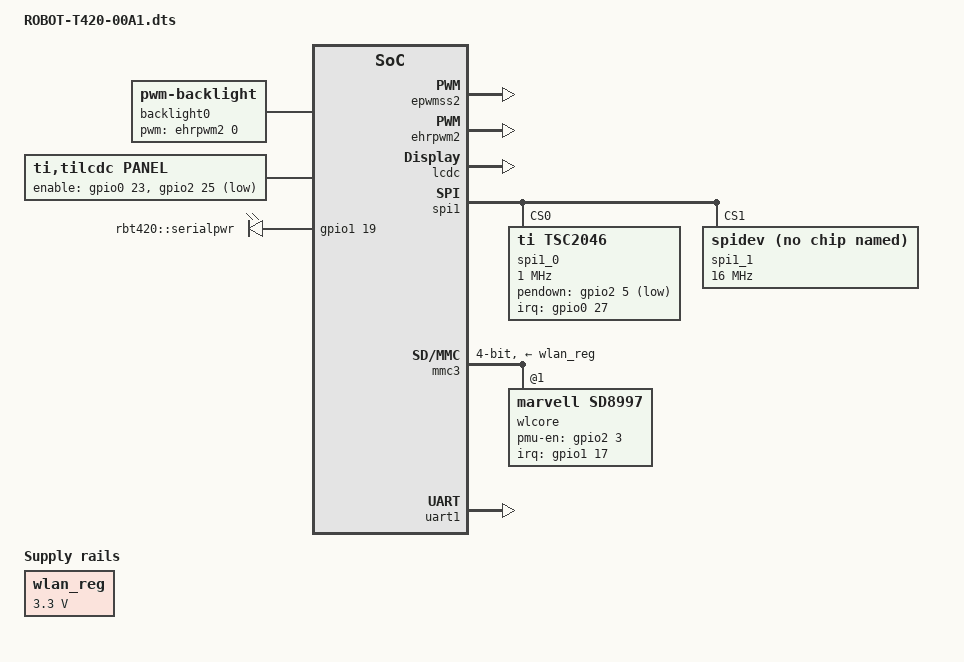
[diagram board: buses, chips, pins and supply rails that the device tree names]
/*
 * Copyright (C) 2013 CircuitCo
 *
 * Virtual cape for UART4 on connector pins P9.13 P9.11
 *
 * This program is free software; you can redistribute it and/or modify
 * it under the terms of the GNU General Public License version 2 as
 * published by the Free Software Foundation.
 */

/dts-v1/;
/plugin/;

#include <dt-bindings/interrupt-controller/irq.h>
#include <dt-bindings/gpio/gpio.h>
#include <dt-bindings/pinctrl/am33xx.h>
#include <dt-bindings/board/am335x-bbw-bbb-base.h>

/ {
	compatible = "ti,beaglebone", "ti,beaglebone-black", "ti,beaglebone-green";

	  /* identification */
  	part-number = "ROBOT-T420-00A1";
  	version = "00A1";

	  /* state the resources this cape uses */
	exclusive-use =
		/* the pin header uses */
		"P8.45",  /* lcd: lcd_data0 */
		"P8.46",  /* lcd: lcd_data1 */
		"P8.43",  /* lcd: lcd_data2 */
		"P8.44",  /* lcd: lcd_data3 */
		"P8.41",  /* lcd: lcd_data4 */
		"P8.42",  /* lcd: lcd_data5 */
		"P8.39",  /* lcd: lcd_data6 */
		"P8.40",  /* lcd: lcd_data7 */
		"P8.37",  /* lcd: lcd_data8 */
		"P8.38",  /* lcd: lcd_data9 */
		"P8.36",  /* lcd: lcd_data10 */
		"P8.34",  /* lcd: lcd_data11 */
		"P8.35",  /* lcd: lcd_data12 */
		"P8.33",  /* lcd: lcd_data13 */
		"P8.31",  /* lcd: lcd_data14 */
		"P8.32",  /* lcd: lcd_data15 */
		"P8.27",  /* lcd: lcd_vsync */
		"P8.29",  /* lcd: lcd_hsync */
		"P8.28",  /* lcd: lcd_pclk */
		
		"P8.30",  /* lcd: lcd_ac_bias_en */

		"P9.12",  /* led: gpio1_28 LCD_AVDD_EN */

		"P9.31",  /* spi1_clk */
		"P9.29",  /* spi1_d0 */
		"P9.30",  /* spi1_d1 */
		"P9.28",  /* spi1_cs0 */
		"P9.42",  /* spi1_cs1 */

		"P9.16",  /* SERIAL PWR */
		"P9.25",   /* SERIAL OC */

		"P8.9",   /* P1_9, touch done */
		"P8.17",  /* P1_17, touch irq */

		"ehrpwm2b",
		"gpio0_22", /* LCD PWM */
		"gpio1_28", /* LCD AVDD EN */
		"lcdc",
		"spi1";

	/*
	 * Helper to show loaded overlays under: /proc/device-tree/chosen/overlays/
	 */
	fragment@0 {
		target-path="/";
		__overlay__ {
			chosen {
				overlays {
					ROBOT-T420-00A1 = __TIMESTAMP__;
				};
			};
		};
	};

	/*
	 * Free up the pins used by the cape from the pinmux helpers.
	 */
	fragment@1 {
		target = <&ocp>;
		__overlay__ {

			P8_9_pinmux { status = "disabled"; };  /*  TOUCH DONE - GPIO2_5 */
			P8_17_pinmux { status = "disabled"; };  /* TOUCH IRQ - GPIO0_27 */

			P9_31_pinmux { status = "disabled"; };	/* SCK - spi1_sclk */
			P9_29_pinmux { status = "disabled"; };	/* MISO - spi1_d0 */
			P9_30_pinmux { status = "disabled"; };	/* MOSI - spi1_d1 */
			P9_28_pinmux { status = "disabled"; };	/* CS - spi1_cs0 */
		
			P9_12_pinmux { status = "disabled"; };  /* LCD_AVDD_EN - GPIO1_28*/

            P8_13_pinmux { status = "disabled"; };  /* CB_P1_13 LCD ENABLE - GPIO0_23 EHRPWM2B*/
            P8_19_pinmux { status = "disabled"; };  /* CB_P1_19 LCD PWM - GPIO0_22 EHRPWM2A*/
            P8_10_pinmux { status = "disabled"; };  /* CB_P1_10 LED HB - GPIO2_4 */

            P8_45_pinmux { status = "disabled"; };	/* lcd_data0 */
			P8_46_pinmux { status = "disabled"; };	/* lcd_data1 */
			P8_43_pinmux { status = "disabled"; };	/* lcd_data2 */
			P8_44_pinmux { status = "disabled"; };	/* lcd_data3 */
			P8_41_pinmux { status = "disabled"; };	/* lcd_data4 */
			P8_42_pinmux { status = "disabled"; };	/* lcd_data5 */
			P8_39_pinmux { status = "disabled"; };	/* lcd_data6 */
			P8_40_pinmux { status = "disabled"; };	/* lcd_data7 */
			P8_37_pinmux { status = "disabled"; };	/* lcd_data8 */
			P8_38_pinmux { status = "disabled"; };	/* lcd_data9 */
			P8_36_pinmux { status = "disabled"; };	/* lcd_data10 */
			P8_34_pinmux { status = "disabled"; };	/* lcd_data11 */
			P8_35_pinmux { status = "disabled"; };	/* lcd_data12 */
			P8_33_pinmux { status = "disabled"; };	/* lcd_data13 */
			P8_31_pinmux { status = "disabled"; };	/* lcd_data14 */
			P8_32_pinmux { status = "disabled"; };	/* lcd_data15 */
			P8_27_pinmux { status = "disabled"; };	/* lcd_vsync */
			P8_29_pinmux { status = "disabled"; };	/* lcd_hsync */
			P8_28_pinmux { status = "disabled"; };	/* lcd_pclk */
			P8_30_pinmux { status = "disabled"; };	/* lcd_ac_bias_en */

			P9_16_pinmux { status = "disabled"; };  /* SERIAL PWR - GPIO 1-19*/
			P9_25_pinmux { status = "disabled"; };  /* SERIAL OC - GPIO 3-21*/

			/* WIFI M.2 Connector */
			P8_18_pinmux { status = "disabled"; };	/* P8_18: GPIO2_1 mmc2_clk */
			P9_15_pinmux { status = "disabled"; };	/* P9_15: GPIO1_16 mmc2_cmd */
			P8_12_pinmux { status = "disabled"; };	/* P8_12: GPIO1_12 mmc2_dat0 */
			P8_11_pinmux { status = "disabled"; };	/* P8_11: GPIO1_13 mmc2_dat1 */
			P8_16_pinmux { status = "disabled"; };	/* P8_16: GPIO1_14 mmc2_dat2 */
			P8_15_pinmux { status = "disabled"; };	/* P8_15: GPIO1_15 mmc2_dat3 */

			P8_08_pinmux { status = "disabled"; };	/* P8_8: TIMER7/GPIO2_3 WL_EN */
			P9_23_pinmux { status = "disabled"; };	/* P9_23: GPIO1_17 WL_IRQ */
			P9_42_pinmux { status = "disabled"; };	/* P8_26: GPIO0_7 BT_EN */
			P9_27_pinmux { status = "disabled"; };	/* P9_27: GPIO3_19 BT IRQ */

			P9_26_pinmux { status = "disabled"; };	/* P9_26: (D16) uart1_rxd.uart1_rxd */
			P9_24_pinmux { status = "disabled"; };	/* P9_24: (D15) uart1_txd.uart1_txd */
			P9_20_pinmux { status = "disabled"; };	/* P9_20: (D18) uart1_ctsn.uart1_ctsn */
			P9_19_pinmux { status = "disabled"; };	/* P9_19: (D17) uart1_rtsn.uart1_rtsn  */

		};
	};


    fragment@2 {
		target = <&am33xx_pinmux>;
		__overlay__ {

			srl_ctrl_pins: pinmux_srl_ctrl_pins {
				pinctrl-single,pins = <
					BONE_P9_16 (PIN_OUTPUT_PULLDOWN | MUX_MODE0 ) /* SERIAL ENABLE */
					BONE_P9_25 (PIN_INPUT | MUX_MODE0 ) /* SERIAL OVERCURRENT */ 
				>;
			};

			cb_touch_pins: pinmux_cb_touch_pins {
				pinctrl-single,pins = <
					BONE_P8_09 (PIN_INPUT | MUX_MODE7 ) /* TOUCH done */
					BONE_P8_17 (PIN_INPUT | MUX_MODE7 ) /* TOUCH IRQ */ 
				>;
			};

			bb_spi1_pins: pinmux_bb_spi1_pins {
				pinctrl-single,pins = <
					/*AM33XX_IOPAD(0x990, PIN_OUTPUT | MUX_MODE3) /* (A13) mcasp0_aclkx.spi1_sclk */
					/*AM33XX_IOPAD(0x994, PIN_OUTPUT | MUX_MODE3) /* (B13) mcasp0_fsx.spi1_d0 */
					/*AM33XX_IOPAD(0x998, PIN_INPUT | MUX_MODE3) /* (D12) mcasp0_axr0.spi1_d1 */
					/*AM33XX_IOPAD(0x99c, PIN_OUTPUT | MUX_MODE3) /* (C12) mcasp0_ahclkr.spi1_cs0 */
					0x190 0x33	/* mcasp0_aclkx.spi1_sclk, INPUT_PULLUP | MODE3 */
					0x194 0x13	/* mcasp0_fsx.spi1_d0, OUTPUT_PULLUP | MODE3 */
					0x198 0x33	/* mcasp0_axr0.spi1_d1, INPUT_PULLUP | MODE3 */
					0x19c 0x13	/* mcasp0_ahclkr.spi1_cs0, OUTPUT_PULLUP | MODE3 */
					// 0x164 0x12	/* eCAP0_in_PWM0_out.spi1_cs1 OUTPUT_PULLUP | MODE2 */
				>;
			};

            bb_lcd_pwm_backlight_pins: pinmux_bb_lcd_pwm_backlight_pins {
				pinctrl-single,pins = <
					BONE_P8_19 (PIN_OUTPUT_PULLDOWN | MUX_MODE4)	/* EHRPWM2B */
				>;
			};

            bb_lcd_lcd_pins: pinmux_bb_lcd_lcd_pins {
				pinctrl-single,pins = <
					BONE_P8_45 (PIN_OUTPUT | MUX_MODE0)	/* P8_45: lcd_data0.lcd_data0 */
					BONE_P8_46 (PIN_OUTPUT | MUX_MODE0)	/* P8_46: lcd_data1.lcd_data1 */
					BONE_P8_43 (PIN_OUTPUT | MUX_MODE0)	/* P8_43: lcd_data2.lcd_data2 */
					BONE_P8_44 (PIN_OUTPUT | MUX_MODE0)	/* P8_44: lcd_data3.lcd_data3 */
					BONE_P8_41 (PIN_OUTPUT | MUX_MODE0)	/* P8_41: lcd_data4.lcd_data4 */
					BONE_P8_42 (PIN_OUTPUT | MUX_MODE0)	/* P8_42: lcd_data5.lcd_data5 */
					BONE_P8_39 (PIN_OUTPUT | MUX_MODE0)	/* P8_39: lcd_data6.lcd_data6 */
					BONE_P8_40 (PIN_OUTPUT | MUX_MODE0)	/* P8_40: lcd_data7.lcd_data7 */
					BONE_P8_37 (PIN_OUTPUT | MUX_MODE0)	/* P8_37: lcd_data8.lcd_data8 */
					BONE_P8_38 (PIN_OUTPUT | MUX_MODE0)	/* P8_38: lcd_data9.lcd_data9 */
					BONE_P8_36 (PIN_OUTPUT | MUX_MODE0)	/* P8_36: lcd_data10.lcd_data10 */
					BONE_P8_34 (PIN_OUTPUT | MUX_MODE0)	/* P8_34: lcd_data11.lcd_data11 */
					BONE_P8_35 (PIN_OUTPUT | MUX_MODE0)	/* P8_35: lcd_data12.lcd_data12 */
					BONE_P8_33 (PIN_OUTPUT | MUX_MODE0)	/* P8_33: lcd_data13.lcd_data13 */
					BONE_P8_31 (PIN_OUTPUT | MUX_MODE0)	/* P8_31: lcd_data14.lcd_data14 */
					BONE_P8_32 (PIN_OUTPUT | MUX_MODE0)	/* P8_32: lcd_data15.lcd_data15 */

                    BONE_P8_27 (PIN_OUTPUT_PULLDOWN | MUX_MODE0)	/* P8_27: lcd_vsync.lcd_vsync */
					BONE_P8_29 (PIN_OUTPUT_PULLDOWN | MUX_MODE0)	/* P8_29: lcd_hsync.lcd_hsync */
					BONE_P8_28 (PIN_OUTPUT_PULLDOWN | MUX_MODE0)	/* P8_28: lcd_pclk.lcd_pclk */
					
					BONE_P8_30 (PIN_OUTPUT | MUX_MODE7)	/* P8_30: lcd_ac_bias_en.lcd_ac_bias_en */
                    BONE_P8_13 (PIN_OUTPUT | MUX_MODE7)	/* P8_30: lcd_enable.lcd_enable */ 
				/*	BONE_P9_12 (PIN_OUTPUT | MUX_MODE7)	/* P9_12: LCD_AVDD_EN */                    
				>;
			};
		};
	};

	fragment@3 {
		target = <&epwmss2>;
		__overlay__ {
			status = "okay";
		};
	};

	fragment@4 {
		target = <&ehrpwm2>;
		__overlay__ {
			pinctrl-names = "default";
			pinctrl-0 = <&bb_lcd_pwm_backlight_pins>;
			status = "okay";
		};
	};

	fragment@5 {
		target = <&lcdc>;
		__overlay__ {
			status = "okay";
		};
	};

	fragment@6 {
		target-path = "/";
        __overlay__ {
    
            backlight0 {
				status = "okay";
				compatible = "pwm-backlight";
				pwms = <&ehrpwm2 0 500000 0>;
				brightness-levels = <
					0  1  2  3  4  5  6  7  8  9
					10 11 12 13 14 15 16 17 18 19
					20 21 22 23 24 25 26 27 28 29
					30 31 32 33 34 35 36 37 38 39
					40 41 42 43 44 45 46 47 48 49
					50 51 52 53 54 55 56 57 58 59
					60 61 62 63 64 65 66 67 68 69
					70 71 72 73 74 75 76 77 78 79
					80 81 82 83 84 85 86 87 88 89
					90 91 92 93 94 95 96 97 98 99
					100
				>;
				default-brightness-level = <100>;
			};

			panel: panel {
				status = "okay";
				compatible = "ti,tilcdc,panel";
				pinctrl-names = "default";
				pinctrl-0 = <&bb_lcd_lcd_pins>;
				enable-gpios = <&gpio0 23 0 &gpio2 25 1>;
			
				panel-info {
					ac-bias           = <255>;
					ac-bias-intrpt    = <0>;
					dma-burst-sz      = <16>;
					bpp               = <16>;
					fdd               = <0x80>;
					sync-edge         = <0>; // falling
					sync-ctrl         = <1>;
					raster-order      = <0>; // 1=Most-to-least 0=Least-to-most
					fifo-th           = <0>;
				};

				display-timings {
					native-mode = <&timing0>;
					/* Settings for ThreeFive S9700RTWV35TR / LCD7 cape: */
					timing0: 800x480 {
						clock-frequency = <30000000>;
						hactive = <800>;
						vactive = <480>;
						hfront-porch = <20>;
						hback-porch = <16>;
						hsync-len = <30>;
						vback-porch = <22>;
						vfront-porch = <6>;
						vsync-len = <2>;
						hsync-active = <0>;
						vsync-active = <0>;
						de-active = <1>;
						pixelclk-active = <0>;
					};
				};
			};
		};
	};

	fragment@7 {
		target = <&spi1>;

		__overlay__ {
			status = "okay";
			
			channel@0{ status = "disabled"; };
			channel@1{ status = "disabled"; };
		};
	};

	fragment@8 {
		target = <&spi1>;

		__overlay__ {
			status = "okay";
			#address-cells	= <1>;
			#size-cells	= <0>;

			cs-gpios = <0>, <0>;
			pinctrl-names = "default";
			pinctrl-0 = <&bb_spi1_pins>;
			ti,pio-mode;
			ti,pindir-d0-out-d1-in=<1>;
			
	
			spi1_0@0 {
				#address-cells = <1>;
				#size-cells = <0>;

				pinctrl-0 = <&cb_touch_pins>;
				spi-max-frequency = <1000000>;
				compatible = "ti,tsc2046";
				reg = <0>;
				//spi-cpha;
				
				ti,keep-vref-on = <1>;
				interrupt-parent = <&gpio0>;
				interrupts = <27 IRQ_TYPE_EDGE_FALLING>;
				pendown-gpio = <&gpio2 5 GPIO_ACTIVE_LOW>;

				/*
				 interrupt-parent = <&pioC>;
                                        interrupts = <31 0x0>;
                                        pendown-gpio = <&pioC 31 0>;
				*/

				touchscreen-size-x = <272>;
				touchscreen-size-y = <480>;

				/* driver defaults */
				ti,x-min = /bits/ 16 <230>;
				ti,y-min = /bits/ 16 <230>;
				ti,x-max = /bits/ 16 <3700>;
				ti,y-max = /bits/ 16 <3900>;
				ti,pressure-min = /bits/ 16 <0>;
				ti,pressure-max = /bits/ 16 <500>;
				ti,x-plate-ohms = /bits/ 16 <650>;
				/* ti,swap-xy = <1>; */
				ti,debounce-max = /bits/ 16 <30>;
				ti,debounce-tol = /bits/ 16 <10>;
				ti,debounce-rep = /bits/ 16 <1>;
			};

			spi1_1@1 {
				#address-cells = <1>;
				#size-cells = <0>;

				compatible = "spidev";
				symlink = "spi/1.1";

				reg = <1>;
				spi-max-frequency = <16000000>;
			};
			
		};
	};

	fragment@9 {
		target = <&am33xx_pinmux>;
		__overlay__ {

			bt_pins_default: pinmux_bt_pins {
				pinctrl-single,pins = <
					BONE_P9_42  (PIN_OUTPUT_PULLUP | MUX_MODE0)	/* P8_26: GPIO0_7 BT_EN */
					BONE_P9_27  (PIN_INPUT_PULLUP | MUX_MODE7)	/* P9_27: GPIO3_19 BT IRQ */
				>;
			};

			bt_pins_sleep: pinmux_bt_pins_sleep {
				pinctrl-single,pins = <
					BONE_P9_42  (PIN_OUTPUT_PULLDOWN | MUX_MODE0)	/* P8_26: GPIO0_7 BT_EN */
					BONE_P9_27  (PIN_INPUT_PULLUP | MUX_MODE7)	/* P9_27: GPIO3_19 BT IRQ*/
				>;
			};
			
			mmc2_pins_default: pinmux_mmc2_pins {
		 		pinctrl-single,pins = <
					BONE_P8_18 (PIN_INPUT_PULLUP | MUX_MODE3)	/* P8_18: GPIO2_1 mmc2_clk */
		 			BONE_P9_15 (PIN_INPUT_PULLUP | MUX_MODE7)	/* P9_15: GPIO1_16 -> 0R */
					BONE_P9_15_2 (PIN_INPUT_PULLUP | MUX_MODE3)	/* P9_15: GPIO2_0 mmc2_cmd */
					BONE_P8_12 (PIN_INPUT_PULLUP | MUX_MODE3)	/* P8_12: GPIO1_12 mmc2_dat0 */
					BONE_P8_11 (PIN_INPUT_PULLUP | MUX_MODE3)	/* P8_11: GPIO1_13 mmc2_dat1 */
					BONE_P8_16 (PIN_INPUT_PULLUP | MUX_MODE3)	/* P8_16: GPIO1_14 mmc2_dat2 */
					BONE_P8_15 (PIN_INPUT_PULLUP | MUX_MODE3)	/* P8_15: GPIO1_15 mmc2_dat3 */
				>;
			};

			mmc2_pins_sleep: pinmux_mmc2_pins_sleep {
				pinctrl-single,pins = <
					BONE_P8_18 (PIN_INPUT_PULLDOWN | MUX_MODE7)	/* P8_18: GPIO2_1 mmc2_clk */
					BONE_P9_15 (PIN_INPUT_PULLDOWN | MUX_MODE7)	/* P9_15: GPIO1_16 -> 0R */
					BONE_P9_15_2 (PIN_INPUT_PULLDOWN | MUX_MODE7)	/* P9_15: GPIO2_0 mmc2_cmd */
					BONE_P8_12 (PIN_INPUT_PULLDOWN | MUX_MODE7)	/* P8_12: GPIO1_12 mmc2_dat0 */
					BONE_P8_11 (PIN_INPUT_PULLDOWN | MUX_MODE7)	/* P8_11: GPIO1_13 mmc2_dat1 */
					BONE_P8_16 (PIN_INPUT_PULLDOWN | MUX_MODE7)	/* P8_16: GPIO1_14 mmc2_dat2 */
					BONE_P8_15 (PIN_INPUT_PULLDOWN | MUX_MODE7)	/* P8_15: GPIO1_15 mmc2_dat3 */
				>;
			};


			/* Laird / Marvell sd8897 card enable/irq GPIOs. */
			wlan_pins_default: pinmux_wlan_pins {
				pinctrl-single,pins = <
					BONE_P8_08  (PIN_OUTPUT_PULLDOWN | MUX_MODE7)	/* P8_8: TIMER7/GPIO2_3 WL_EN */
					BONE_P9_23 (PIN_INPUT_PULLUP | MUX_MODE7)	/* P9_23: GPIO1_17 WL_IRQ */
				>;
			};

			/* Laird / Marvell sd8897 card enable/irq GPIOs. */
			wlan_pins_sleep: pinmux_bb_wlan_pins_sleep {
				pinctrl-single,pins = <
					BONE_P8_08  (PIN_OUTPUT_PULLDOWN | MUX_MODE7)	/* P8_8: TIMER7/GPIO2_3 WL_EN */
					BONE_P9_23 (PIN_INPUT_PULLUP | MUX_MODE7)	/* P9_23: GPIO1_17 WL_IRQ */
				>;
			};

			uart1_pins_default: pinmux_bb_uart1_pins_default {
				pinctrl-single,pins = <
					BONE_P9_26 ( PIN_INPUT_PULLUP  | MUX_MODE0 )	/* P9_26: (D16) uart1_rxd.uart1_rxd */
					BONE_P9_24 ( PIN_OUTPUT_PULLDOWN | MUX_MODE0 )	/* P9_24: (D15) uart1_txd.uart1_txd */
					BONE_P9_20 ( PIN_INPUT_PULLUP  | MUX_MODE0 )	/* P9_20: (D18) uart1_ctsn.uart1_ctsn */
					BONE_P9_19 ( PIN_OUTPUT_PULLDOWN | MUX_MODE0 )	/* P9_19: (D17) uart1_rtsn.uart1_rtsn  */
				>;
			};

			uart1_pins_sleep: pinmux_bb_uart1_pins_sleep {
				pinctrl-single,pins = <
					BONE_P9_26 ( PIN_INPUT  | MUX_MODE0 )	/* P9_26: (D16) uart1_rxd.uart1_rxd */
					BONE_P9_24 ( PIN_INPUT | MUX_MODE0 )	/* P9_24: (D15) uart1_txd.uart1_txd */
					BONE_P9_20 ( PIN_INPUT  | MUX_MODE0 )	/* P9_20: (D18) uart1_ctsn.uart1_ctsn */
					BONE_P9_19 ( PIN_INPUT | MUX_MODE0 )	/* P9_19: (D17) uart1_rtsn.uart1_rtsn  */
				>;
			};
			
		};
	};

	fragment@10 {

		target-path = "/";
        __overlay__ {

			wlan_reg: fixedregulator@2 {
				compatible = "regulator-fixed";
				regulator-name = "wlan-regulator";
				regulator-min-microvolt = <3300000>;
				regulator-max-microvolt = <3300000>;
				startup-delay-us= <70000>;

				/* WL_EN */
				// gpio = <&gpio2 3 0>;
				// enable-active-high;
			};

		};
	};

	fragment@11 {
		target = <&mmc3>;
		//@47810000
		__overlay__ {
			dmas = <&edma_xbar 12 0 1
						&edma_xbar 13 0 2>;
			dma-names = "tx", "rx";
			status = "okay";
			bus-width = <4>;
			vmmc-supply = <&wlan_reg>;
			pinctrl-names = "default", "sleep";
			pinctrl-0 = <&mmc2_pins_default &wlan_pins_default>;
			pinctrl-1 = <&mmc2_pins_sleep &wlan_pins_sleep>;
			ti,non-removable;
			ti,needs-special-hs-handling;
			ti,dual-volt;
			cap-power-off-card;
			keep-power-in-suspend;
			max-frequency = <25000000>;
			broken-cd;
			
			#address-cells = <1>;
			#size-cells = <0>;
			wlcore: wlcore@1 {
				compatible = "marvell,sd8997";
				reg = <1>;
				interrupt-parent = <&gpio1>;
				interrupts = <17 IRQ_TYPE_LEVEL_LOW>;
				pmu-en-gpios = <&gpio2 3 0>;
			};
		};
	};

	fragment@12 {
		target = <&uart1>;
		__overlay__ {
			pinctrl-names = "default";
			pinctrl-0 = <&uart1_pins_default &bt_pins_default>;
			status = "okay";

			// bluetooth {
			// 	compatible = "mrvl,88w8897";
			// 	enable-gpios = <&gpio0 7 GPIO_ACTIVE_HIGH>;
			// 	interrupt-parent = <&gpio3>;
			// 	interrupts = <19 IRQ_TYPE_LEVEL_LOW>;
			// };
		};
	};

	fragment@13 {
		target-path = "/";
		__overlay__ {
			gpio-leds {
				compatible = "gpio-leds";
				pinctrl-names = "default";
				pinctrl-0 = <&srl_ctrl_pins>;

				led-srl-pwr {
					label = "rbt420::serialpwr";
					gpios = <&gpio1 19 GPIO_ACTIVE_HIGH>;
					default-state = "on";
				};
			};
		};
	};

};
